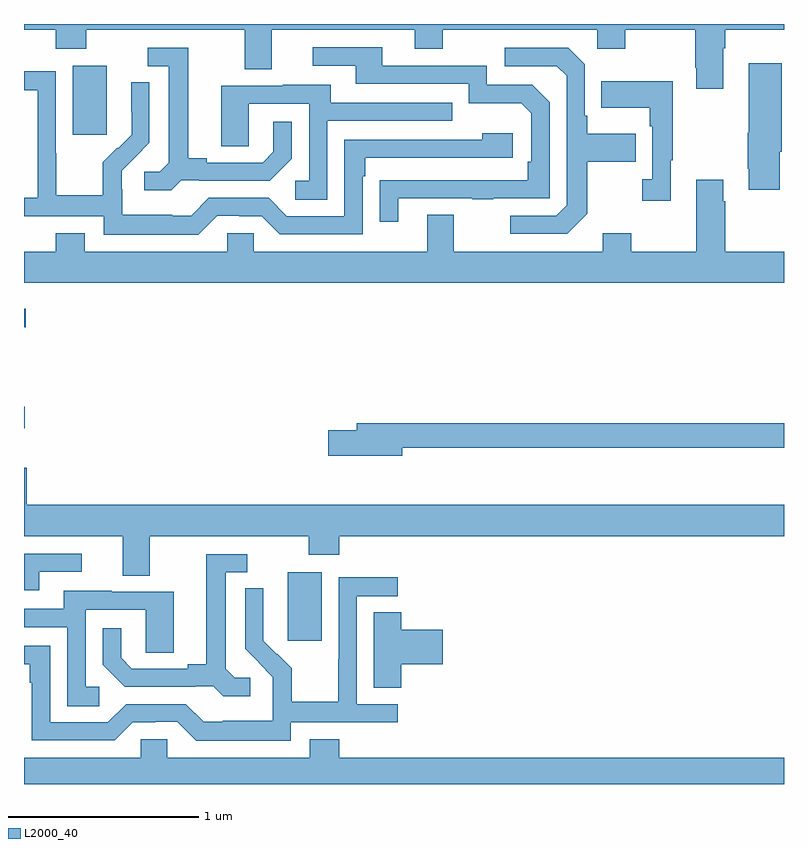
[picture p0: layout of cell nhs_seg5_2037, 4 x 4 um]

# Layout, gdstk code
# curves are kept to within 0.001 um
import gdstk
lib = gdstk.Library(unit=1e-6, precision=1e-09)
def R(c, l, rs):  # rectangles x0, y0, x1, y1
    for r in rs: c.add(gdstk.rectangle(r[:2], r[2:], *l))
def P(c, l, *ps):  # polygons
    for p in ps: c.add(gdstk.Polygon(p, *l))
L2000_40 = (2000, 40)

nhs_seg5_2037 = lib.new_cell('nhs_seg5_2037')
R(nhs_seg5_2037, L2000_40, [(232.388,845.553,232.567,845.914), (231,846.672,231.005,846.784), (231,847.203,231.01,847.3), (231.257,848.217,231.436,848.578)])
P(nhs_seg5_2037, L2000_40, [(231,848.768),(231.167,848.768),(231.167,848.669),(231.327,848.669),(231.327,848.768),(232.163,848.768),(232.163,848.56),(232.303,848.56),(232.303,848.768),(233.057,848.768),(233.057,848.669),(233.205,848.669),(233.205,848.768),(234.018,848.768),(234.018,848.669),(234.165,848.669),(234.165,848.768),(234.532,848.768),(234.532,848.569),(234.539,848.569),(234.539,848.457),(234.679,848.457),(234.679,848.672),(234.692,848.672),(234.692,848.768),(235,848.768),(235,848.799),(231,848.799)],
  [(232.969,847.881),(233.359,847.881),(233.359,847.876),(233.471,847.876),(233.471,847.881),(233.766,847.881),(233.766,848.388),(233.676,848.478),(233.436,848.478),(233.436,848.58),(232.885,848.58),(232.885,848.676),(232.521,848.676),(232.521,848.58),(232.745,848.58),(232.745,848.484),(233.34,848.484),(233.34,848.381),(233.617,848.381),(233.67,848.328),(233.67,848.074),(233.65,848.074),(233.65,847.977),(232.873,847.976),(232.873,847.758),(232.969,847.758)],
  [(233.965,847.801),(233.965,848.074),(234.221,848.074),(234.221,848.221),(233.965,848.221),(233.965,848.317),(233.952,848.317),(233.952,848.586),(233.865,848.673),(233.529,848.673),(233.529,848.577),(233.805,848.577),(233.856,848.526),(233.856,847.845),(233.802,847.791),(233.559,847.791),(233.559,847.695),(233.859,847.695)],
  [(231.828,847.977),(231.922,847.977),(231.922,847.974),(232.294,847.974),(232.41,848.09),(232.41,848.284),(232.313,848.284),(232.313,848.127),(232.256,848.07),(231.961,848.07),(231.961,848.093),(231.865,848.093),(231.865,848.673),(231.651,848.673),(231.651,848.577),(231.761,848.577),(231.761,848.069),(231.714,848.022),(231.633,848.022),(231.633,847.925),(231.776,847.925)],
  [(234.978,848.127),(234.988,848.127),(234.988,848.593),(234.815,848.593),(234.815,848.227),(234.808,848.227),(234.808,848.038),(234.815,848.038),(234.815,847.926),(234.978,847.926)],
  [(232.017,847.791),(232.133,847.791),(232.133,847.788),(232.251,847.788),(232.347,847.692),(232.782,847.692),(232.782,847.997),(232.795,847.997),(232.795,848.094),(233.572,848.094),(233.572,848.224),(233.411,848.224),(233.411,848.19),(232.686,848.19),(232.686,847.788),(232.383,847.788),(232.287,847.884),(231.972,847.884),(231.879,847.791),(231.779,847.791),(231.779,847.795),(231.516,847.795),(231.516,847.929),(231.514,847.929),(231.514,848.026),(231.66,848.174),(231.66,848.492),(231.564,848.492),(231.564,848.338),(231.566,848.338),(231.566,848.216),(231.495,848.145),(231.492,848.148),(231.415,848.071),(231.415,847.897),(231.171,847.897),(231.171,848.12),(231.168,848.12),(231.168,848.55),(231,848.55),(231,848.451),(231.072,848.451),(231.072,847.884),(231,847.884),(231,847.788),(231.42,847.788),(231.42,847.691),(231.917,847.691)],
  [(234.403,848.081),(234.415,848.081),(234.415,848.497),(234.037,848.497),(234.037,848.357),(234.294,848.357),(234.294,848.261),(234.306,848.261),(234.306,847.982),(234.255,847.982),(234.255,847.869),(234.403,847.869)],
  [(232.596,848.289),(233.255,848.289),(233.255,848.385),(232.615,848.385),(232.615,848.479),(232.361,848.479),(232.361,848.475),(232.037,848.475),(232.037,848.155),(232.182,848.155),(232.182,848.379),(232.5,848.379),(232.5,847.974),(232.428,847.974),(232.428,847.873),(232.596,847.873)],
  [(235,847.6),(234.692,847.6),(234.692,847.865),(234.679,847.865),(234.679,847.978),(234.539,847.978),(234.539,847.6),(234.195,847.6),(234.195,847.699),(234.047,847.699),(234.047,847.6),(233.263,847.6),(233.263,847.795),(233.123,847.795),(233.123,847.6),(232.209,847.6),(232.209,847.698),(232.071,847.698),(232.071,847.6),(231.319,847.6),(231.319,847.699),(231.167,847.699),(231.167,847.6),(231,847.6),(231,847.436),(235,847.436)],
  [(232.99,846.57),(235,846.57),(235,846.698),(232.751,846.698),(232.751,846.662),(232.602,846.662),(232.602,846.527),(232.99,846.527)],
  [(231.661,846.104),(232.498,846.104),(232.498,846.005),(232.658,846.005),(232.658,846.104),(235,846.104),(235,846.268),(231.014,846.268),(231.014,846.463),(231,846.463),(231,846.104),(231.521,846.104),(231.521,845.896),(231.661,845.896)],
  [(231.079,845.916),(231.304,845.916),(231.304,846.012),(231,846.012),(231,845.82),(231.079,845.82)],
  [(232.192,845.358),(232.11,845.358),(232.063,845.405),(232.063,845.913),(232.174,845.913),(232.174,846.009),(231.959,846.009),(231.959,845.429),(231.863,845.429),(231.863,845.406),(231.568,845.406),(231.511,845.463),(231.511,845.62),(231.414,845.62),(231.414,845.426),(231.53,845.31),(231.902,845.31),(231.902,845.313),(231.996,845.313),(232.048,845.261),(232.192,845.261)],
  [(232.404,845.124),(232.966,845.124),(232.966,845.22),(232.752,845.22),(232.752,845.787),(232.966,845.787),(232.966,845.886),(232.656,845.886),(232.656,845.456),(232.654,845.456),(232.654,845.233),(232.409,845.233),(232.409,845.407),(232.332,845.484),(232.329,845.481),(232.259,845.552),(232.26,845.828),(232.164,845.828),(232.164,845.51),(232.31,845.362),(232.31,845.265),(232.308,845.265),(232.308,845.131),(232.045,845.131),(232.045,845.127),(231.945,845.127),(231.852,845.22),(231.537,845.22),(231.441,845.124),(231.138,845.124),(231.138,845.526),(231,845.526),(231,845.43),(231.029,845.43),(231.029,845.333),(231.042,845.333),(231.042,845.028),(231.477,845.028),(231.573,845.124),(231.692,845.124),(231.692,845.127),(231.807,845.127),(231.907,845.027),(232.404,845.027)],
  [(231.397,845.31),(231.324,845.31),(231.324,845.715),(231.642,845.715),(231.642,845.491),(231.787,845.491),(231.787,845.811),(231.463,845.811),(231.463,845.815),(231.209,845.815),(231.209,845.721),(231,845.721),(231,845.625),(231.228,845.625),(231.228,845.209),(231.397,845.209)],
  [(232.985,845.429),(233.203,845.429),(233.203,845.612),(232.985,845.612),(232.985,845.702),(232.841,845.702),(232.841,845.305),(232.985,845.305)],
  [(235,844.936),(232.658,844.936),(232.658,845.035),(232.505,845.035),(232.505,844.936),(231.753,844.936),(231.753,845.034),(231.615,845.034),(231.615,844.936),(231,844.936),(231,844.799),(235,844.799)])

lib.write_gds('nhs_seg5_2037.gds')
